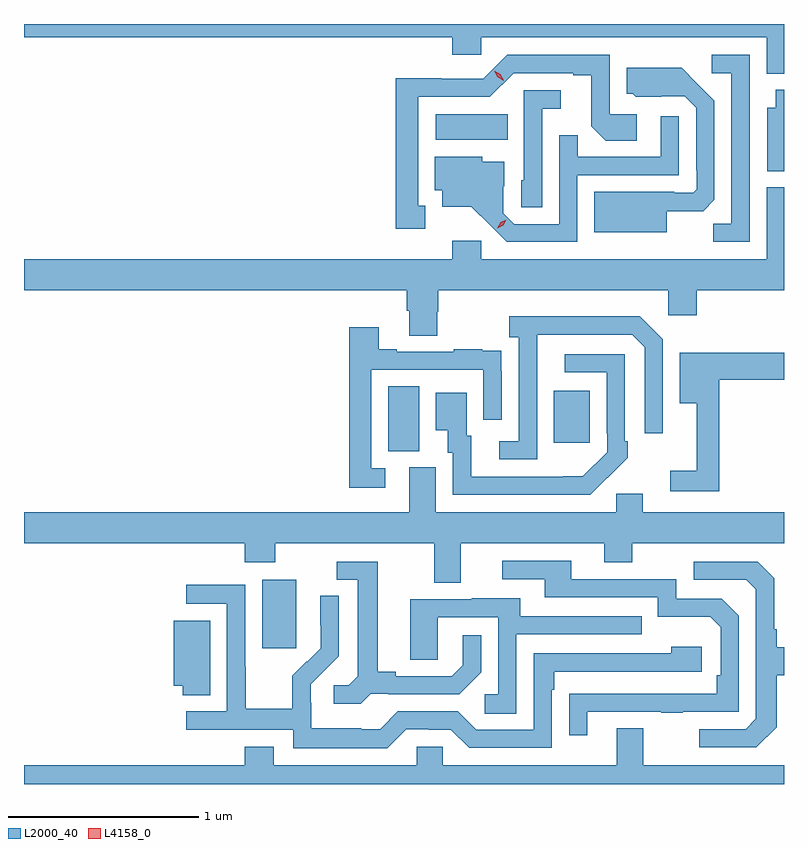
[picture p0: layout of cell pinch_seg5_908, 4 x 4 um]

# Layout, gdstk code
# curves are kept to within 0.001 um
import gdstk
lib = gdstk.Library(unit=1e-6, precision=1e-09)
def R(c, l, rs):  # rectangles x0, y0, x1, y1
    for r in rs: c.add(gdstk.rectangle(r[:2], r[2:], *l))
def P(c, l, *ps):  # polygons
    for p in ps: c.add(gdstk.Polygon(p, *l))
L2000_40 = (2000, 40)
L4158_0 = (4158, 0)

pinch_seg5_908 = lib.new_cell('pinch_seg5_908')
R(pinch_seg5_908, L2000_40, [(723.431,880.185,723.61,880.546), (724.094,881.221,724.258,881.564), (724.967,881.265,725.155,881.539), (724.344,882.86,724.724,882.994)])
P(pinch_seg5_908, L2000_40, [(726.178,883.47),(722.178,883.47),(722.178,883.4),(724.433,883.4),(724.433,883.307),(724.584,883.307),(724.584,883.4),(726.086,883.4),(726.086,883.208),(726.178,883.208)],
  [(724.291,882.513),(724.252,882.513),(724.252,883.086),(724.629,883.086),(724.755,883.212),(725.069,883.212),(725.069,883.2),(725.163,883.2),(725.163,882.932),(725.239,882.856),(725.404,882.856),(725.404,882.996),(725.262,882.996),(725.262,883.308),(724.722,883.308),(724.596,883.182),(724.374,883.182),(724.374,883.184),(724.134,883.184),(724.134,882.393),(724.291,882.393)],
  [(725.997,883.308),(725.799,883.308),(725.799,883.212),(725.901,883.212),(725.901,882.419),(725.806,882.419),(725.806,882.324),(725.997,882.324)],
  [(725.56,882.485),(725.752,882.485),(725.811,882.544),(725.811,883.066),(725.639,883.24),(725.351,883.24),(725.351,883.104),(725.382,883.104),(725.398,883.088),(725.655,883.089),(725.715,883.029),(725.715,882.7),(725.718,882.7),(725.718,882.6),(725.7,882.582),(725.6,882.582),(725.6,882.586),(725.18,882.586),(725.18,882.374),(725.56,882.374)],
  [(726.178,883.123),(726.134,883.123),(726.134,883.03),(726.089,883.03),(726.089,882.695),(726.178,882.695)],
  [(724.905,883.025),(725.002,883.025),(725.002,883.122),(724.809,883.122),(724.809,882.648),(724.794,882.648),(724.794,882.505),(724.905,882.505)],
  [(725.091,882.675),(725.625,882.675),(725.625,882.985),(725.529,882.985),(725.529,882.771),(725.093,882.771),(725.093,882.884),(724.995,882.884),(724.995,882.417),(724.758,882.417),(724.701,882.474),(724.701,882.616),(724.705,882.616),(724.705,882.745),(724.59,882.745),(724.59,882.772),(724.34,882.772),(724.34,882.596),(724.379,882.596),(724.379,882.509),(724.531,882.509),(724.718,882.324),(725.091,882.324)],
  [(724.353,881.955),(724.358,881.955),(724.358,882.068),(725.568,882.068),(725.568,881.937),(725.72,881.937),(725.72,882.068),(726.178,882.068),(726.178,882.61),(726.086,882.61),(726.086,882.232),(724.584,882.232),(724.584,882.328),(724.433,882.328),(724.433,882.232),(722.178,882.232),(722.178,882.068),(724.193,882.068),(724.193,881.962),(724.205,881.962),(724.205,881.83),(724.353,881.83)],
  [(724.878,881.635),(724.879,881.835),(725.379,881.835),(725.445,881.769),(725.445,881.316),(725.541,881.316),(725.541,881.811),(725.42,881.932),(724.731,881.932),(724.731,881.822),(724.782,881.822),(724.782,881.274),(724.68,881.274),(724.68,881.178),(724.878,881.178)],
  [(724.078,881.133),(724.005,881.133),(724.005,881.649),(724.596,881.649),(724.596,881.388),(724.692,881.388),(724.692,881.642),(724.691,881.642),(724.691,881.751),(724.589,881.751),(724.589,881.758),(724.441,881.758),(724.441,881.745),(724.141,881.745),(724.141,881.758),(724.045,881.758),(724.045,881.875),(723.889,881.875),(723.889,881.028),(724.078,881.028)],
  [(725.837,881.597),(726.178,881.597),(726.178,881.739),(725.63,881.739),(725.63,881.474),(725.72,881.474),(725.72,881.119),(725.58,881.119),(725.58,881.01),(725.837,881.01)],
  [(725.249,881.083),(725.25,881.082),(725.355,881.187),(725.355,881.275),(725.34,881.275),(725.34,881.733),(725.025,881.733),(725.025,881.637),(725.244,881.637),(725.244,881.317),(725.247,881.317),(725.247,881.217),(725.119,881.089),(724.531,881.088),(724.531,881.304),(724.507,881.304),(724.507,881.53),(724.346,881.53),(724.346,881.333),(724.409,881.333),(724.409,881.214),(724.434,881.214),(724.434,880.992),(725.158,880.992)],
  [(722.178,880.736),(723.341,880.736),(723.341,880.637),(723.501,880.637),(723.501,880.736),(724.337,880.736),(724.337,880.528),(724.477,880.528),(724.477,880.736),(725.231,880.736),(725.231,880.637),(725.379,880.637),(725.379,880.736),(726.178,880.736),(726.178,880.9),(725.434,880.9),(725.434,880.998),(725.295,880.998),(725.295,880.9),(724.345,880.9),(724.345,881.136),(724.205,881.136),(724.205,880.9),(722.178,880.9)],
  [(725.143,879.849),(725.533,879.849),(725.533,879.844),(725.645,879.844),(725.645,879.849),(725.94,879.849),(725.94,880.356),(725.85,880.446),(725.61,880.446),(725.61,880.548),(725.059,880.548),(725.059,880.644),(724.695,880.644),(724.695,880.548),(724.919,880.548),(724.919,880.452),(725.514,880.452),(725.514,880.349),(725.791,880.349),(725.844,880.296),(725.844,880.042),(725.824,880.042),(725.824,879.945),(725.047,879.944),(725.047,879.726),(725.143,879.726)],
  [(726.139,879.769),(726.139,880.042),(726.178,880.042),(726.178,880.189),(726.139,880.189),(726.139,880.285),(726.126,880.285),(726.126,880.554),(726.039,880.641),(725.703,880.641),(725.703,880.545),(725.979,880.545),(726.03,880.494),(726.03,879.813),(725.976,879.759),(725.733,879.759),(725.733,879.663),(726.033,879.663)],
  [(724.002,879.945),(724.096,879.945),(724.096,879.942),(724.468,879.942),(724.584,880.058),(724.584,880.252),(724.487,880.252),(724.487,880.095),(724.43,880.038),(724.135,880.038),(724.135,880.061),(724.039,880.061),(724.039,880.641),(723.825,880.641),(723.825,880.545),(723.935,880.545),(723.935,880.037),(723.888,879.99),(723.807,879.99),(723.807,879.893),(723.95,879.893)],
  [(724.191,879.759),(724.307,879.759),(724.307,879.756),(724.425,879.756),(724.521,879.66),(724.956,879.66),(724.956,879.965),(724.969,879.965),(724.969,880.062),(725.746,880.062),(725.746,880.192),(725.585,880.192),(725.585,880.158),(724.86,880.158),(724.86,879.756),(724.557,879.756),(724.461,879.852),(724.146,879.852),(724.053,879.759),(723.953,879.759),(723.953,879.763),(723.69,879.763),(723.69,879.897),(723.688,879.897),(723.688,879.994),(723.834,880.142),(723.834,880.46),(723.738,880.46),(723.738,880.306),(723.74,880.306),(723.74,880.184),(723.669,880.113),(723.666,880.116),(723.589,880.039),(723.589,879.865),(723.345,879.865),(723.345,880.088),(723.342,880.088),(723.342,880.518),(723.033,880.518),(723.033,880.419),(723.246,880.419),(723.246,879.852),(723.033,879.852),(723.033,879.756),(723.594,879.756),(723.594,879.659),(724.091,879.659)],
  [(724.77,880.257),(725.429,880.257),(725.429,880.353),(724.789,880.353),(724.789,880.447),(724.535,880.447),(724.535,880.443),(724.211,880.443),(724.211,880.123),(724.356,880.123),(724.356,880.347),(724.674,880.347),(724.674,879.942),(724.602,879.942),(724.602,879.841),(724.77,879.841)],
  [(723.157,880.33),(722.966,880.33),(722.966,879.986),(723.014,879.986),(723.014,879.937),(723.157,879.937)],
  [(726.178,879.568),(725.437,879.568),(725.437,879.763),(725.297,879.763),(725.297,879.568),(724.383,879.568),(724.383,879.666),(724.245,879.666),(724.245,879.568),(723.493,879.568),(723.493,879.667),(723.341,879.667),(723.341,879.568),(722.178,879.568),(722.178,879.47),(726.178,879.47)])
P(pinch_seg5_908, L4158_0, [(724.669,882.396),(724.669,882.396),(724.686,882.426),(724.717,882.441),(724.717,882.441),(724.717,882.441),(724.7,882.411),(724.67,882.396)],
  [(724.702,883.172),(724.67,883.192),(724.653,883.224),(724.653,883.225),(724.654,883.225),(724.685,883.205),(724.702,883.173),(724.702,883.172)])

lib.write_gds('pinch_seg5_908.gds')
